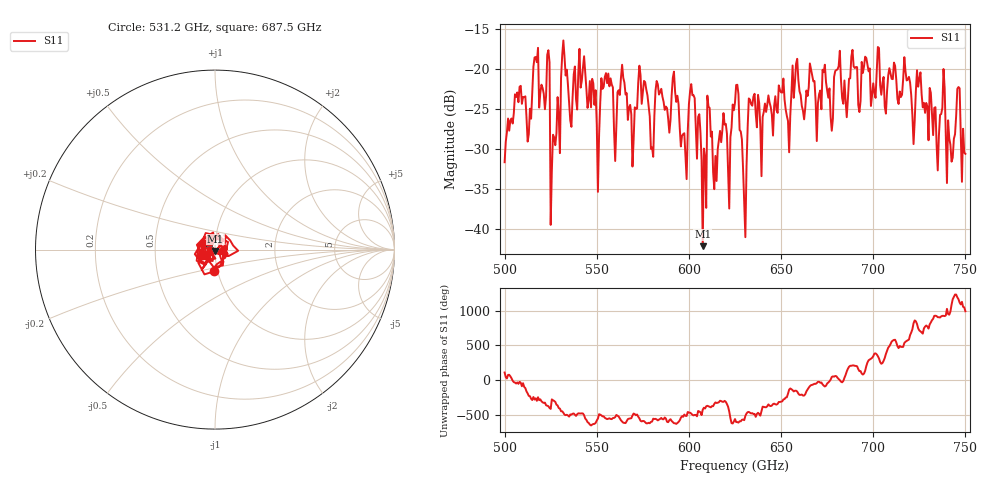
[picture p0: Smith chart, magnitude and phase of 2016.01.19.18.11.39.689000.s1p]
!Created with skrf (http://scikit-rf.org).
# GHz S RI R 50.0
!freq ReS11 ImS11
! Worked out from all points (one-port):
!   401 points, 500 GHz to 750 GHz, reference 50 ohm
!   lowest |S11| = -42.2 dB at 607.5 GHz (marker M1), VSWR 1.02, Z = 50.3 - j0.728 ohm
!   |S11| at or under -10 dB: start of sweep to end of sweep
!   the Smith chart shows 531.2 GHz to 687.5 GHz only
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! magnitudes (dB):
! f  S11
! 500 GHz  -31.7
! 507.5 GHz  -24.2
! 513.1 GHz  -28.2
! 516.9 GHz  -18.5
! 523.1 GHz  -18.3
! 526.2 GHz  -28.3
! 531.2 GHz  -18.3
! 541.9 GHz  -21.5
! 550 GHz  -27.0
! 562.5 GHz  -23.3
! 570 GHz  -28.9
! 576.2 GHz  -21.7
! 580 GHz  -29.9
! 583.1 GHz  -22.0
! 593.8 GHz  -23.4
! 597.5 GHz  -28.1
! 601.9 GHz  -23.3
! 607.5 GHz  -42.2
! 611.2 GHz  -24.9
! 614.4 GHz  -30.9
! 621.9 GHz  -37.5
! 625 GHz  -24.2
! 630 GHz  -36.7
! 633.8 GHz  -24.4
! 656.2 GHz  -19.6
! 687.5 GHz  -21.2
! 718.8 GHz  -21.4
! 750 GHz  -30.7
